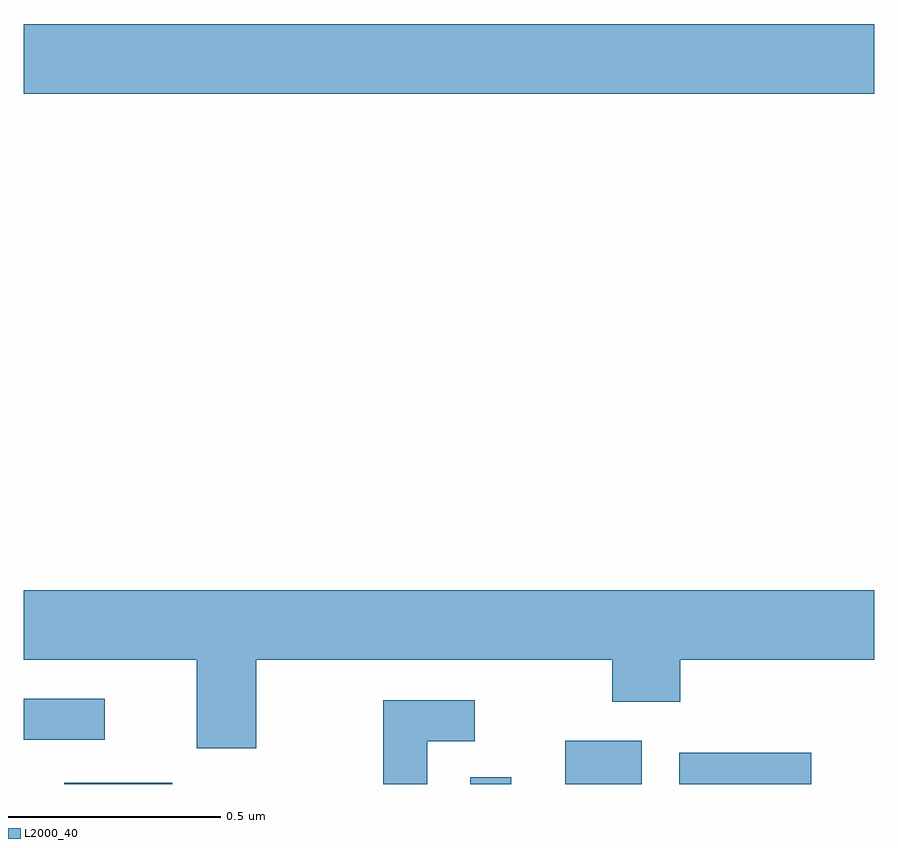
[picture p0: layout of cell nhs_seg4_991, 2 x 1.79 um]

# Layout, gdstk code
import gdstk
lib = gdstk.Library(unit=1e-6, precision=1e-09)
def R(c, l, rs):  # rectangles x0, y0, x1, y1
    for r in rs: c.add(gdstk.rectangle(r[:2], r[2:], *l))
def P(c, l, *ps):  # polygons
    for p in ps: c.add(gdstk.Polygon(p, *l))
L2000_40 = (2000, 40)

nhs_seg4_991 = lib.new_cell('nhs_seg4_991')
R(nhs_seg4_991, L2000_40, [(123.095,757.9,123.349,757.903), (124.05,757.9,124.146,757.916), (124.274,757.9,124.453,758.002), (124.542,757.9,124.852,757.974), (123,758.004,123.19,758.1), (123,759.524,125,759.688)])
P(nhs_seg4_991, L2000_40, [(123.547,758.192),(124.384,758.192),(124.384,758.093),(124.544,758.093),(124.544,758.192),(125,758.192),(125,758.356),(123,758.356),(123,758.192),(123.407,758.192),(123.407,757.984),(123.547,757.984)],
  [(123.949,758.001),(124.06,758.001),(124.06,758.097),(123.845,758.097),(123.845,757.9),(123.949,757.9)])

lib.write_gds('nhs_seg4_991.gds')
